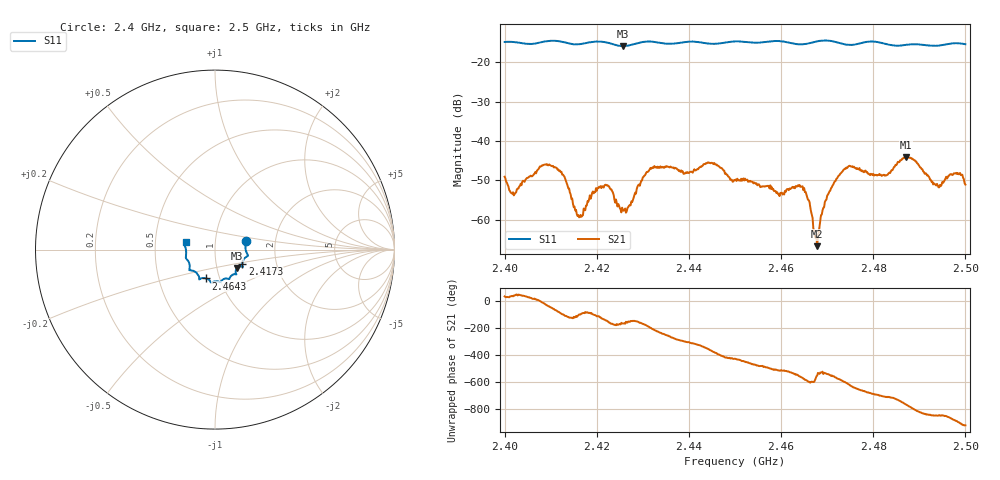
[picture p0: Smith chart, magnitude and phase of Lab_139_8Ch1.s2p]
# Hz S RI R 50
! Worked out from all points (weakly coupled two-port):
!   601 points, 2.4 GHz to 2.5 GHz, reference 50 ohm
!   highest |S21| = -44.10 dB at 2.4872 GHz (marker M1); lowest = -66.7 dB at 2.4678 GHz (marker M2)
!   lowest |S11| = -15.9 dB at 2.4257 GHz (marker M3), VSWR 1.38, Z = 62.4 - j13.1 ohm
!   |S11| at or under -10 dB: start of sweep to end of sweep
!   S12 and S22 are empty: the file has one direction only
!   S11 on the Smith chart (normalised r, x): 2.4 GHz: 1.41, +0.15; 2.4173 GHz: 1.34, -0.23; 2.4643 GHz: 0.86, -0.28; 2.5 GHz: 0.72, +0.06
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2.4e9  0.1734 0.0497  0.00301 0.00183  0 0  0 0
2.402e9  0.175 0.0415  0.00162 0.00125  0 0  0 0
2.408e9  0.1782 -0.0209  0.00471 -0.000886  0 0  0 0
2.410833e9  0.1836 -0.034  0.00186 -0.00426  0 0  0 0
2.416667e9  0.153 -0.0749  -0.000107 -0.00109  0 0  0 0
2.417333e9  0.1522 -0.0822  -4.39e-05 -0.00134  0 0  0 0
2.422167e9  0.1507 -0.0942  -0.0023 -0.00147  0 0  0 0
2.425667e9  0.1227 -0.1024  -0.0013 -0.000263  0 0  0 0
2.433333e9  0.1127 -0.1367  -0.00304 0.00341  0 0  0 0
2.444667e9  0.0579 -0.1612  0.00521 -0.000451  0 0  0 0
2.45e9  0.0297 -0.1808  0.00124 -0.00294  0 0  0 0
2.459833e9  -0.0233 -0.1832  -0.00199 -0.000925  0 0  0 0
2.464333e9  -0.0502 -0.1605  -0.00242 0.00102  0 0  0 0
2.466667e9  -0.0762 -0.1598  -0.000646 0.000964  0 0  0 0
2.467833e9  -0.084 -0.1633  -0.000454 9.41e-05  0 0  0 0
2.47e9  -0.0874 -0.1664  -0.00202 1.91e-05  0 0  0 0
2.473667e9  -0.0951 -0.1395  -0.00235 0.00368  0 0  0 0
2.483333e9  -0.1408 -0.0895  0.00381 0.000814  0 0  0 0
2.487167e9  -0.1564 -0.0553  0.00437 -0.00446  0 0  0 0
2.493833e9  -0.1616 -0.00357  -0.00167 -0.00232  0 0  0 0
2.497833e9  -0.1711 0.0312  -0.00367 -0.00124  0 0  0 0
2.5e9  -0.1637 0.042  -0.00267 0.000849  0 0  0 0
